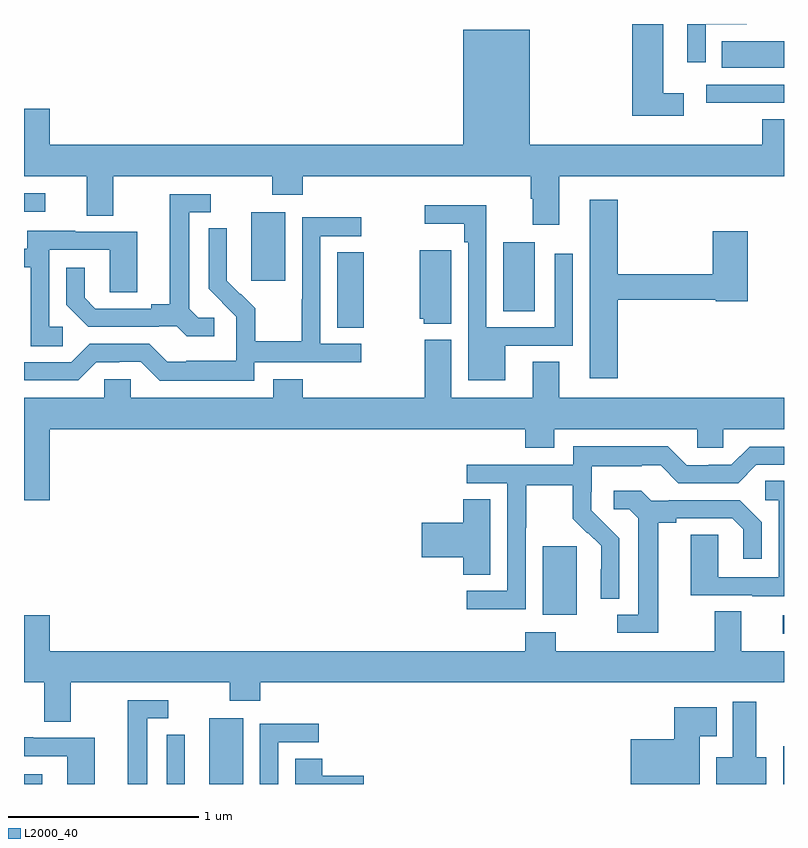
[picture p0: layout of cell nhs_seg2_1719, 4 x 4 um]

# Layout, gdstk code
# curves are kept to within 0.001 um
import gdstk
lib = gdstk.Library(unit=1e-6, precision=1e-09)
def R(c, l, rs):  # rectangles x0, y0, x1, y1
    for r in rs: c.add(gdstk.rectangle(r[:2], r[2:], *l))
def P(c, l, *ps):  # polygons
    for p in ps: c.add(gdstk.Polygon(p, *l))
L2000_40 = (2000, 40)

nhs_seg2_1719 = lib.new_cell('nhs_seg2_1719')
R(nhs_seg2_1719, L2000_40, [(201,613.8,201.097,613.852), (201.974,613.8,202.153,614.146), (204.995,613.8,205,613.999), (204.993,614.592,205,614.688), (203.729,614.69,203.908,615.051), (202.649,616.201,202.788,616.598), (203.522,616.288,203.689,616.651), (202.196,616.449,202.375,616.81), (201,616.812,201.112,616.908), (204.591,617.385,205,617.481), (204.673,617.57,205,617.71)])
P(nhs_seg2_1719, L2000_40, [(204.588,617.798),(204.805,617.798),(204.805,617.8),(204.492,617.8),(204.492,617.598),(204.588,617.598)],
  [(204.472,617.435),(204.364,617.435),(204.364,617.8),(204.2,617.8),(204.2,617.318),(204.472,617.318)],
  [(203.818,617),(205,617),(205,617.3),(204.886,617.3),(204.886,617.164),(203.662,617.164),(203.662,617.77),(203.312,617.77),(203.312,617.164),(201.136,617.164),(201.136,617.353),(201,617.353),(201,617),(201.329,617),(201.329,616.792),(201.469,616.792),(201.469,617),(202.306,617),(202.306,616.901),(202.466,616.901),(202.466,617),(203.666,617),(203.666,616.88),(203.678,616.88),(203.678,616.743),(203.818,616.743)],
  [(202,616.254),(201.918,616.254),(201.871,616.301),(201.871,616.809),(201.982,616.809),(201.982,616.905),(201.767,616.905),(201.767,616.325),(201.671,616.325),(201.671,616.302),(201.376,616.302),(201.319,616.359),(201.319,616.516),(201.222,616.516),(201.222,616.322),(201.338,616.206),(201.71,616.206),(201.71,616.209),(201.804,616.209),(201.856,616.157),(202,616.157)],
  [(204.125,616.348),(204.642,616.348),(204.642,616.34),(204.809,616.34),(204.809,616.708),(204.626,616.708),(204.626,616.484),(204.125,616.484),(204.125,616.876),(203.978,616.876),(203.978,615.936),(204.125,615.936)],
  [(203.533,616.107),(203.889,616.107),(203.889,616.591),(203.793,616.591),(203.793,616.203),(203.433,616.203),(203.433,616.846),(203.109,616.846),(203.109,616.748),(203.317,616.748),(203.317,616.652),(203.337,616.652),(203.337,615.926),(203.533,615.926)],
  [(202.212,616.02),(202.774,616.02),(202.774,616.116),(202.56,616.116),(202.56,616.683),(202.774,616.683),(202.774,616.782),(202.464,616.782),(202.464,616.352),(202.462,616.352),(202.462,616.129),(202.217,616.129),(202.217,616.303),(202.14,616.38),(202.137,616.377),(202.067,616.448),(202.068,616.724),(201.972,616.724),(201.972,616.406),(202.118,616.258),(202.118,616.161),(202.116,616.161),(202.116,616.027),(201.853,616.027),(201.853,616.023),(201.753,616.023),(201.66,616.116),(201.345,616.116),(201.249,616.02),(201,616.02),(201,615.924),(201.285,615.924),(201.381,616.02),(201.5,616.02),(201.5,616.023),(201.615,616.023),(201.715,615.923),(202.212,615.923)],
  [(201.205,616.206),(201.132,616.206),(201.132,616.611),(201.45,616.611),(201.45,616.387),(201.595,616.387),(201.595,616.707),(201.271,616.707),(201.271,616.711),(201.017,616.711),(201.017,616.617),(201,616.617),(201,616.521),(201.036,616.521),(201.036,616.105),(201.205,616.105)],
  [(203.248,616.609),(203.084,616.609),(203.084,616.248),(203.103,616.248),(203.103,616.223),(203.248,616.223)],
  [(201.136,615.668),(203.639,615.668),(203.639,615.569),(203.791,615.569),(203.791,615.668),(204.543,615.668),(204.543,615.57),(204.681,615.57),(204.681,615.668),(205,615.668),(205,615.832),(203.818,615.832),(203.818,616.022),(203.678,616.022),(203.678,615.832),(203.248,615.832),(203.248,616.138),(203.11,616.138),(203.11,615.832),(202.466,615.832),(202.466,615.931),(202.313,615.931),(202.313,615.832),(201.561,615.832),(201.561,615.93),(201.423,615.93),(201.423,615.832),(201,615.832),(201,615.294),(201.136,615.294)],
  [(203.64,615.148),(203.643,615.148),(203.643,615.372),(203.887,615.372),(203.887,615.197),(203.964,615.12),(203.967,615.123),(204.038,615.053),(204.038,614.93),(204.036,614.93),(204.036,614.776),(204.132,614.776),(204.132,615.094),(203.986,615.242),(203.986,615.339),(203.988,615.339),(203.988,615.473),(204.251,615.473),(204.251,615.477),(204.351,615.477),(204.444,615.384),(204.759,615.384),(204.855,615.48),(205,615.48),(205,615.576),(204.819,615.576),(204.723,615.48),(204.605,615.48),(204.605,615.477),(204.489,615.477),(204.389,615.577),(203.892,615.577),(203.892,615.48),(203.331,615.48),(203.331,615.384),(203.544,615.384),(203.544,614.817),(203.331,614.817),(203.331,614.719),(203.64,614.719)],
  [(205,615.395),(204.9,615.395),(204.9,615.294),(204.972,615.294),(204.972,614.889),(204.654,614.889),(204.654,615.113),(204.509,615.113),(204.509,614.793),(204.833,614.793),(204.833,614.789),(205,614.789)],
  [(204.337,615.176),(204.433,615.176),(204.433,615.198),(204.728,615.198),(204.785,615.141),(204.785,614.985),(204.882,614.985),(204.882,615.178),(204.766,615.294),(204.394,615.294),(204.394,615.291),(204.3,615.291),(204.248,615.343),(204.105,615.343),(204.105,615.246),(204.186,615.246),(204.233,615.199),(204.233,614.691),(204.123,614.691),(204.123,614.595),(204.337,614.595)],
  [(203.455,615.299),(203.312,615.299),(203.312,615.176),(203.094,615.176),(203.094,614.993),(203.312,614.993),(203.312,614.902),(203.455,614.902)],
  [(201.247,614.336),(202.084,614.336),(202.084,614.237),(202.244,614.237),(202.244,614.336),(205,614.336),(205,614.5),(204.775,614.5),(204.775,614.708),(204.635,614.708),(204.635,614.5),(203.799,614.5),(203.799,614.599),(203.639,614.599),(203.639,614.5),(201.136,614.5),(201.136,614.689),(201,614.689),(201,614.336),(201.107,614.336),(201.107,614.128),(201.247,614.128)],
  [(201.649,614.145),(201.76,614.145),(201.76,614.241),(201.545,614.241),(201.545,613.8),(201.649,613.8)],
  [(204.907,613.942),(204.853,613.942),(204.853,614.233),(204.731,614.233),(204.731,613.942),(204.644,613.942),(204.644,613.8),(204.907,613.8)],
  [(204.556,614.051),(204.646,614.051),(204.646,614.203),(204.422,614.203),(204.422,614.035),(204.194,614.035),(204.194,613.8),(204.556,613.8)],
  [(202.338,614.019),(202.552,614.019),(202.552,614.118),(202.242,614.118),(202.242,613.8),(202.338,613.8)],
  [(201.845,613.906),(201.846,613.906),(201.846,614.06),(201.75,614.06),(201.75,613.8),(201.845,613.8)],
  [(201.373,614.043),(201.049,614.043),(201.049,614.047),(201,614.047),(201,613.947),(201.228,613.947),(201.228,613.8),(201.373,613.8)],
  [(202.789,613.844),(202.571,613.844),(202.571,613.934),(202.427,613.934),(202.427,613.8),(202.789,613.8)])

lib.write_gds('nhs_seg2_1719.gds')
